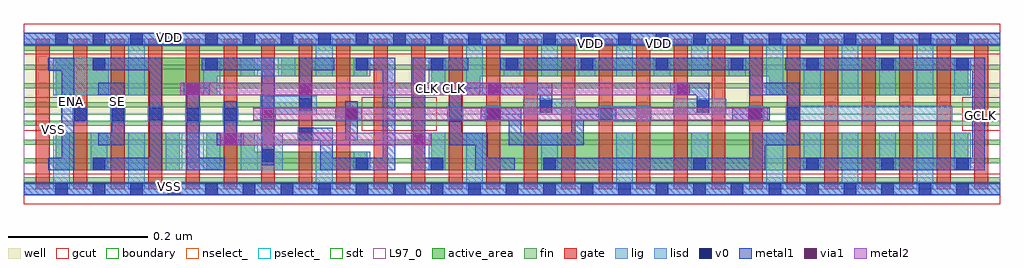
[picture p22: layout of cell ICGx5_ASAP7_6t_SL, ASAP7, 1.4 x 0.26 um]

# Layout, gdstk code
import gdstk
lib = gdstk.Library(unit=1e-6, precision=2.5e-10)
def R(c, l, rs):  # rectangles x0, y0, x1, y1
    for r in rs: c.add(gdstk.rectangle(r[:2], r[2:], *l))
def A(c, l, x, y, w, h, nx, ny, dx, dy):  # array of equal rectangles
    R(c, l, [(x+i*dx, y+j*dy, x+i*dx+w, y+j*dy+h) for i in range(nx) for j in range(ny)])
def P(c, l, *ps):  # polygons
    for p in ps: c.add(gdstk.Polygon(p, *l))
well = (1, 0)
fin = (2, 0)
gate = (7, 0)
gcut = (10, 0)
active_area = (11, 0)
nselect_ = (12, 0)
pselect_ = (13, 0)
lig = (16, 0)
lisd = (17, 0)
v0 = (18, 0)
metal1 = (19, 0)
metal2 = (20, 0)
via1 = (21, 0)
sdt = (88, 0)
L97_0 = (97, 0)
boundary = (100, 0)

icgx5_asap7_6t_sl = lib.new_cell('ICGx5_ASAP7_6t_SL')
R(icgx5_asap7_6t_sl, well, [(0,0.108,1.404,0.216)])
A(icgx5_asap7_6t_sl, fin, 0, 0.01, 1.404, 0.007, 1, 8, 0, 0.027)
A(icgx5_asap7_6t_sl, gate, 0.017, 0, 0.02, 0.216, 26, 1, 0.054, 0)
R(icgx5_asap7_6t_sl, gcut, [(0,-0.022,1.404,0.022), (0,0.084,0.054,0.132), (0.486,0.084,0.594,0.132), (1.35,0.084,1.404,0.132), (0,0.194,1.404,0.238)])
R(icgx5_asap7_6t_sl, active_area, [(0.046,0.027,0.224,0.081), (0.586,0.027,1.358,0.081), (0.37,0.162,0.494,0.189)])
P(icgx5_asap7_6t_sl, active_area, [(0.332,0.189),(0.046,0.189),(0.046,0.135),(0.278,0.135),(0.278,0.162),(0.332,0.162)],
  [(0.494,0.054),(0.332,0.054),(0.332,0.081),(0.262,0.081),(0.262,0.027),(0.494,0.027)],
  [(1.358,0.189),(0.586,0.189),(0.586,0.135),(0.656,0.135),(0.656,0.162),(1.072,0.162),(1.072,0.135),(1.358,0.135)])
R(icgx5_asap7_6t_sl, nselect_, [(0,0,1.404,0.108)])
R(icgx5_asap7_6t_sl, pselect_, [(0,0.108,1.404,0.216)])
R(icgx5_asap7_6t_sl, lig, [(0,-0.008,1.404,0.008), (0.394,0.069,0.416,0.089), (0.07,0.096,0.092,0.118), (0.124,0.096,0.146,0.118), (0.232,0.096,0.254,0.118), (0.286,0.096,0.308,0.118), (0.178,0.097,0.2,0.119), (0.34,0.097,0.362,0.119), (0.609,0.097,0.632,0.119), (0.663,0.097,0.686,0.119), (0.826,0.097,0.902,0.119), (1.042,0.097,1.065,0.119), (0.448,0.098,0.486,0.118), (1.096,0.098,1.335,0.12), (0.718,0.108,0.794,0.13), (0.934,0.108,1.01,0.13), (0,0.208,1.404,0.224)])
A(icgx5_asap7_6t_sl, lisd, 0.636, 0, 0.024, 0.081, 3, 1, 0.216, 0)
A(icgx5_asap7_6t_sl, lisd, 1.122, 0.027, 0.024, 0.054, 3, 2, 0.108, 0.108)
A(icgx5_asap7_6t_sl, lisd, 1.068, 0.135, 0.024, 0.081, 3, 1, 0.108, 0)
A(icgx5_asap7_6t_sl, lisd, 0.69, 0.162, 0.024, 0.027, 4, 1, 0.108, 0)
A(icgx5_asap7_6t_sl, lisd, 0.744, 0.162, 0.024, 0.054, 3, 1, 0.108, 0)
R(icgx5_asap7_6t_sl, lisd, [(0.042,0,0.066,0.081), (0.15,0,0.174,0.081), (0.42,0,0.444,0.054), (1.176,0,1.2,0.081), (1.284,0,1.308,0.081), (0.096,0.027,0.12,0.081), (0.204,0.027,0.282,0.081), (0.312,0.027,0.372,0.081), (0.474,0.027,0.498,0.054), (0.582,0.027,0.606,0.081), (0.744,0.027,0.768,0.081), (0.96,0.027,0.984,0.081), (0.34,0.108,0.421,0.134), (0.042,0.135,0.122,0.189), (0.15,0.135,0.174,0.216), (0.258,0.135,0.282,0.189), (0.582,0.135,0.606,0.189), (0.636,0.135,0.66,0.216), (0.312,0.162,0.39,0.189), (0.42,0.162,0.444,0.216), (0.474,0.162,0.498,0.189)])
A(icgx5_asap7_6t_sl, v0, 0.045, -0.009, 0.018, 0.018, 25, 2, 0.054, 0.216)
A(icgx5_asap7_6t_sl, v0, 1.125, 0.027, 0.018, 0.018, 3, 1, 0.108, 0)
A(icgx5_asap7_6t_sl, v0, 0.477, 0.171, 0.018, 0.018, 9, 1, 0.108, 0)
R(icgx5_asap7_6t_sl, v0, [(0.099,0.027,0.117,0.045), (0.477,0.027,0.495,0.045), (0.585,0.027,0.603,0.045), (0.747,0.027,0.765,0.045), (0.963,0.027,0.981,0.045), (0.342,0.039,0.36,0.057), (0.396,0.07,0.414,0.088), (0.612,0.097,0.63,0.115), (0.072,0.098,0.09,0.116), (0.126,0.098,0.144,0.116), (0.234,0.098,0.252,0.116), (0.288,0.098,0.306,0.116), (0.18,0.099,0.198,0.117), (0.462,0.099,0.48,0.117), (0.666,0.099,0.684,0.117), (0.829,0.099,0.847,0.117), (1.044,0.099,1.062,0.117), (1.098,0.1,1.116,0.118), (0.742,0.11,0.76,0.128), (0.968,0.11,0.986,0.128), (0.396,0.113,0.414,0.131), (0.099,0.171,0.117,0.189), (0.261,0.171,0.279,0.189)])
R(icgx5_asap7_6t_sl, metal1, [(0,-0.009,1.404,0.009), (0.234,0.027,0.289,0.045), (0.462,0.07,0.48,0.126), (1.019,0.099,1.073,0.117), (0.396,0.113,0.414,0.189), (0.396,0.171,0.446,0.189), (0,0.207,1.404,0.225)])
P(icgx5_asap7_6t_sl, metal1, [(0.09,0.116),(0.072,0.116),(0.072,0.189),(0.035,0.189),(0.035,0.17),(0.054,0.17),(0.054,0.045),(0.035,0.045),(0.035,0.027),(0.072,0.027),(0.072,0.098),(0.09,0.098)],
  [(0.144,0.153),(0.107,0.153),(0.107,0.135),(0.126,0.135),(0.126,0.081),(0.107,0.081),(0.107,0.063),(0.144,0.063)],
  [(0.198,0.189),(0.099,0.189),(0.099,0.171),(0.18,0.171),(0.18,0.045),(0.099,0.045),(0.099,0.027),(0.198,0.027)],
  [(0.267,0.153),(0.23,0.153),(0.23,0.135),(0.234,0.135),(0.234,0.028),(0.252,0.028),(0.252,0.135),(0.267,0.135)],
  [(0.316,0.081),(0.306,0.081),(0.306,0.126),(0.288,0.126),(0.288,0.081),(0.277,0.081),(0.277,0.063),(0.316,0.063)],
  [(0.36,0.189),(0.256,0.189),(0.256,0.171),(0.342,0.171),(0.342,0.034),(0.36,0.034)],
  [(0.534,0.189),(0.477,0.189),(0.477,0.171),(0.516,0.171),(0.516,0.045),(0.444,0.045),(0.444,0.088),(0.396,0.088),(0.396,0.07),(0.426,0.07),(0.426,0.027),(0.534,0.027)],
  [(0.639,0.189),(0.559,0.189),(0.559,0.027),(0.603,0.027),(0.603,0.045),(0.577,0.045),(0.577,0.171),(0.639,0.171)],
  [(0.76,0.153),(0.612,0.153),(0.612,0.063),(0.649,0.063),(0.649,0.027),(0.706,0.027),(0.706,0.045),(0.667,0.045),(0.667,0.081),(0.63,0.081),(0.63,0.135),(0.742,0.135),(0.742,0.11),(0.76,0.11)],
  [(0.852,0.117),(0.787,0.117),(0.787,0.081),(0.715,0.081),(0.715,0.117),(0.657,0.117),(0.657,0.099),(0.697,0.099),(0.697,0.063),(0.805,0.063),(0.805,0.099),(0.852,0.099)],
  [(0.986,0.153),(0.93,0.153),(0.93,0.135),(0.968,0.135),(0.968,0.11),(0.986,0.11)],
  [(1.116,0.153),(1.062,0.153),(1.062,0.189),(0.685,0.189),(0.685,0.171),(1.044,0.171),(1.044,0.135),(1.098,0.135),(1.098,0.081),(1.048,0.081),(1.048,0.045),(0.747,0.045),(0.747,0.027),(1.066,0.027),(1.066,0.063),(1.116,0.063)],
  [(1.382,0.189),(1.095,0.189),(1.095,0.171),(1.364,0.171),(1.364,0.045),(1.098,0.045),(1.098,0.027),(1.382,0.027)])
R(icgx5_asap7_6t_sl, metal2, [(0.282,0.063,0.586,0.081), (0.33,0.099,1.07,0.117), (0.225,0.135,0.958,0.153)])
A(icgx5_asap7_6t_sl, via1, 0.396, 0.135, 0.018, 0.018, 3, 1, 0.272, 0)
R(icgx5_asap7_6t_sl, via1, [(0.288,0.063,0.306,0.081), (0.559,0.063,0.577,0.081), (0.342,0.099,0.36,0.117), (0.462,0.099,0.48,0.117), (0.668,0.099,0.686,0.117), (1.042,0.099,1.06,0.117), (0.234,0.135,0.252,0.153)])
A(icgx5_asap7_6t_sl, sdt, 0.042, 0.027, 0.024, 0.054, 6, 1, 0.054, 0)
A(icgx5_asap7_6t_sl, sdt, 0.636, 0.027, 0.024, 0.054, 5, 1, 0.108, 0)
A(icgx5_asap7_6t_sl, sdt, 1.122, 0.027, 0.024, 0.054, 5, 1, 0.054, 0)
A(icgx5_asap7_6t_sl, sdt, 0.042, 0.135, 0.024, 0.054, 3, 1, 0.108, 0)
A(icgx5_asap7_6t_sl, sdt, 1.068, 0.135, 0.024, 0.054, 6, 1, 0.054, 0)
A(icgx5_asap7_6t_sl, sdt, 0.312, 0.162, 0.024, 0.027, 4, 1, 0.054, 0)
A(icgx5_asap7_6t_sl, sdt, 0.69, 0.162, 0.024, 0.027, 7, 1, 0.054, 0)
R(icgx5_asap7_6t_sl, sdt, [(0.42,0.027,0.444,0.054), (0.474,0.027,0.498,0.054), (0.582,0.027,0.606,0.081), (0.582,0.135,0.606,0.189), (0.636,0.135,0.66,0.189)])
R(icgx5_asap7_6t_sl, L97_0, [(0,0,1.404,0.216), (0,0,1.404,0.216)])
R(icgx5_asap7_6t_sl, boundary, [(0,0,1.404,0.216)])
icgx5_asap7_6t_sl.add(gdstk.Label('VSS', (0.043,0.085), layer=3, texttype=251))
icgx5_asap7_6t_sl.add(gdstk.Label('GCLK', (1.376,0.106), layer=19, texttype=251))
icgx5_asap7_6t_sl.add(gdstk.Label('CLK', (0.62,0.144), layer=19, texttype=251))
icgx5_asap7_6t_sl.add(gdstk.Label('VSS', (0.21,0.003), layer=19, texttype=251))
icgx5_asap7_6t_sl.add(gdstk.Label('VDD', (0.21,0.218), layer=19, texttype=251))
icgx5_asap7_6t_sl.add(gdstk.Label('SE', (0.135,0.126), layer=19, texttype=251))
icgx5_asap7_6t_sl.add(gdstk.Label('ENA', (0.068,0.126), layer=19, texttype=251))
icgx5_asap7_6t_sl.add(gdstk.Label('VDD', (0.913,0.209), layer=1, texttype=251))
icgx5_asap7_6t_sl.add(gdstk.Label('VDD', (0.815,0.209), layer=1, texttype=251))
icgx5_asap7_6t_sl.add(gdstk.Label('CLK', (0.581,0.144), layer=20, texttype=251))

lib.write_gds('ICGx5_ASAP7_6t_SL.gds')
